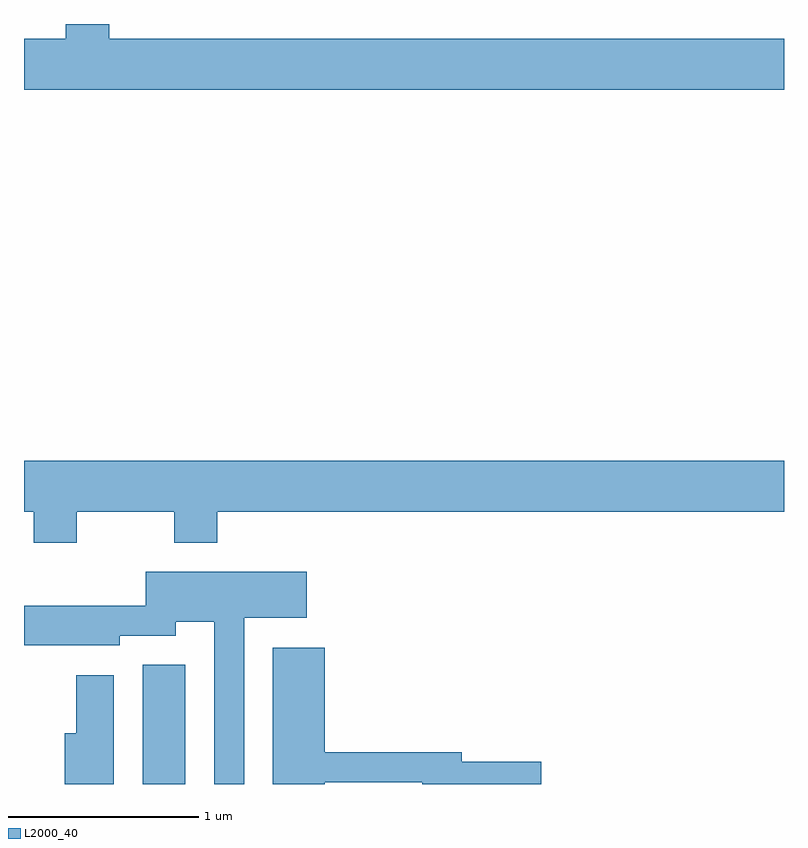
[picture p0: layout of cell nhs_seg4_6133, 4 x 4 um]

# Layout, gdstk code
import gdstk
lib = gdstk.Library(unit=1e-6, precision=1e-09)
def R(c, l, rs):  # rectangles x0, y0, x1, y1
    for r in rs: c.add(gdstk.rectangle(r[:2], r[2:], *l))
def P(c, l, *ps):  # polygons
    for p in ps: c.add(gdstk.Polygon(p, *l))
L2000_40 = (2000, 40)

nhs_seg4_6133 = lib.new_cell('nhs_seg4_6133')
R(nhs_seg4_6133, L2000_40, [(366.236,1279.982,366.459,1280.609)])
P(nhs_seg4_6133, L2000_40, [(369.611,1283.904),(366.059,1283.904),(366.059,1283.982),(365.831,1283.982),(365.831,1283.904),(365.611,1283.904),(365.611,1283.636),(369.611,1283.636)],
  [(365.889,1281.416),(366.401,1281.416),(366.401,1281.251),(366.629,1281.251),(366.629,1281.416),(369.611,1281.416),(369.611,1281.684),(365.611,1281.684),(365.611,1281.416),(365.661,1281.416),(365.661,1281.251),(365.889,1281.251)],
  [(366.769,1280.856),(367.099,1280.856),(367.099,1281.099),(366.251,1281.099),(366.251,1280.919),(365.611,1280.919),(365.611,1280.711),(366.114,1280.711),(366.114,1280.761),(366.409,1280.761),(366.409,1280.836),(366.611,1280.836),(366.611,1279.982),(366.769,1279.982)],
  [(367.194,1279.991),(367.706,1279.991),(367.706,1279.982),(368.334,1279.982),(368.334,1280.099),(367.914,1280.099),(367.914,1280.149),(367.194,1280.149),(367.194,1280.699),(366.921,1280.699),(366.921,1279.982),(367.194,1279.982)],
  [(366.084,1280.554),(365.886,1280.554),(365.886,1280.249),(365.826,1280.249),(365.826,1279.982),(366.084,1279.982)])

lib.write_gds('nhs_seg4_6133.gds')
